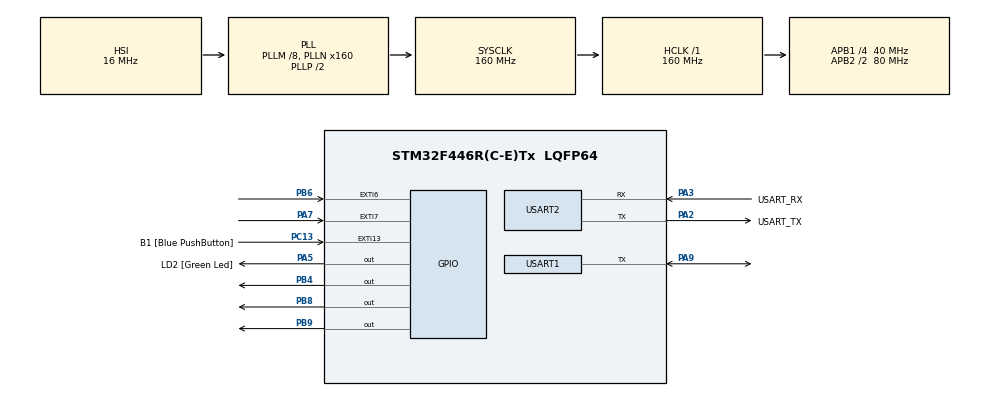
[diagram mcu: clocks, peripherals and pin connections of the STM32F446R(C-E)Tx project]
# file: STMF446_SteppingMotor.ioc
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Mcu.Family=STM32F4
Mcu.Name=STM32F446R(C-E)Tx
Mcu.Package=LQFP64
NVIC.EXTI15_10_IRQn=true\:1\:0\:true\:false\:true\:true\:true\:true
NVIC.EXTI9_5_IRQn=true\:1\:0\:true\:false\:true\:true\:true\:true
NVIC.PriorityGroup=NVIC_PRIORITYGROUP_4
NVIC.TIM3_IRQn=true\:2\:0\:true\:false\:true\:true\:true\:true
NVIC.USART2_IRQn=true\:0\:0\:true\:false\:true\:true\:true\:true
PA13.GPIO_Label=TMS
PA13.Mode=Serial_Wire
PA13.Signal=SYS_JTMS-SWDIO
PA14.GPIO_Label=TCK
PA14.Mode=Serial_Wire
PA14.Signal=SYS_JTCK-SWCLK
PA2.GPIO_Label=USART_TX
PA2.Mode=Asynchronous
PA2.Signal=USART2_TX
PA3.GPIO_Label=USART_RX
PA3.Mode=Asynchronous
PA3.Signal=USART2_RX
PA5.GPIO_Label=LD2 [Green Led]
PA5.Signal=GPIO_Output
PA7.GPIO_ModeDefaultEXTI=GPIO_MODE_IT_RISING_FALLING
PA7.Signal=GPXTI7
PA9.GPIO_Speed=GPIO_SPEED_FREQ_HIGH
PA9.Mode=Half_duplex(single_wire_mode)
PA9.Signal=USART1_TX
PB3.GPIO_Label=SWO
PB3.Signal=SYS_JTDO-SWO
PB4.Signal=GPIO_Output
PB6.GPIO_ModeDefaultEXTI=GPIO_MODE_IT_RISING_FALLING
PB6.Signal=GPXTI6
PB8.GPIO_Speed=GPIO_SPEED_FREQ_VERY_HIGH
PB8.Signal=GPIO_Output
PB9.GPIO_Speed=GPIO_SPEED_FREQ_VERY_HIGH
PB9.Signal=GPIO_Output
PC13.GPIO_Label=B1 [Blue PushButton]
PC13.GPIO_ModeDefaultEXTI=GPIO_MODE_IT_FALLING
PC13.Signal=GPXTI13
PC14-OSC32_IN.Mode=LSE-External-Oscillator
PC14-OSC32_IN.Signal=RCC_OSC32_IN
PC15-OSC32_OUT.Mode=LSE-External-Oscillator
PC15-OSC32_OUT.Signal=RCC_OSC32_OUT
PH0-OSC_IN.Mode=HSE-External-Oscillator
PH0-OSC_IN.Signal=RCC_OSC_IN
PH1-OSC_OUT.Mode=HSE-External-Oscillator
PH1-OSC_OUT.Signal=RCC_OSC_OUT
ProjectManager.HeapSize=0x200
ProjectManager.StackSize=0x400
ProjectManager.TargetToolchain=STM32CubeIDE
RCC.48MHZClocksFreq_Value=84000000
RCC.AHBFreq_Value=160000000
RCC.APB1CLKDivider=RCC_HCLK_DIV4
RCC.APB1Freq_Value=40000000
RCC.APB1TimFreq_Value=80000000
RCC.APB2CLKDivider=RCC_HCLK_DIV2
RCC.APB2Freq_Value=80000000
RCC.APB2TimFreq_Value=160000000
RCC.CortexFreq_Value=160000000
RCC.FLatency-AdvancedSettings=FLASH_LATENCY_5
RCC.HCLKFreq_Value=160000000
RCC.HSE_VALUE=8000000
RCC.HSI_VALUE=16000000
RCC.PLLM=8
RCC.PLLN=160
RCC.SYSCLKFreq_VALUE=160000000
RCC.SYSCLKSource=RCC_SYSCLKSOURCE_PLLCLK
RCC.USBFreq_Value=160000000
RCC.VCOOutputFreq_Value=320000000
TIM3.Channel-Output\ Compare1\ No\ Output=TIM_CHANNEL_1
TIM3.Prescaler=160-1
USART1.BaudRate=500000
USART1.VirtualMode=VM_ASYNC
USART2.VirtualMode=VM_ASYNC
VP_TIM3_VS_ClockSourceINT.Mode=Internal
VP_TIM3_VS_no_output1.Mode=Output Compare1 No Output
board=NUCLEO-F446RE

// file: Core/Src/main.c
/* USER CODE BEGIN Header */
/**
  ******************************************************************************
  * @file           : main.c
  * @brief          : Main program body
  ******************************************************************************
  * @attention
  *
  * Copyright (c) 2022 STMicroelectronics.
  * All rights reserved.
  *
  * This software is licensed under terms that can be found in the LICENSE file
  * in the root directory of this software component.
  * If no LICENSE file comes with this software, it is provided AS-IS.
  *
  ******************************************************************************
  */
/* USER CODE END Header */
#include "main.h"

/* USER CODE BEGIN Includes */
#include<stdio.h>
#include "tmc/ic/TMC2209/TMC2209.h"
#include <math.h>
/* USER CODE END Includes */

/* USER CODE BEGIN PTD */
typedef struct {
	float acceleration;
	volatile unsigned int minStepInterval;
	void (*dirFunc)(int);
	void (*stepFunc)();

	uint8_t homing;
	unsigned int c0;
	volatile int stepPosition;

	volatile int dir; // 1 or -1
	volatile int dir_inv; //set 1 to reverse the dir

	volatile int pull_off; //set pull_off distance
	volatile int stall_off;

	volatile int seeking_vel;
	volatile int homing_vel;

	volatile unsigned int totalSteps;

	volatile char movementDone;
	volatile unsigned int rampUpStepCount;
	volatile unsigned int n; // index
	volatile float d; // current interval length
	volatile unsigned long di; // d -> unsigned  di
	volatile unsigned int stepCount;

}stepperInfo;   //stepperInfo型の構造体にメンバを格納

/* USER CODE END PTD */

/* USER CODE BEGIN PD */
#define TMC2209_CRC(data, length) tmc_CRC8(data, length, 1)

/* USER CODE END PD */

TIM_HandleTypeDef htim3;

UART_HandleTypeDef huart1;
UART_HandleTypeDef huart2;

/* USER CODE BEGIN PV */
//SteppingMotorの設定
TMC2209TypeDef TMC2209; //TMC2209の設定などの定義
ConfigurationTypeDef TMC2209_config; //TMC2209の設定
volatile stepperInfo steppers[1];    //stepperInfo型の配列stepperにNUM_STEPPERSで定義した値を代入
uint8_t end_stop_state = 0;
uint8_t homing_flag = 0;
uint8_t current_stall = 0;
uint8_t get_uart_flag=0;

/* USER CODE END PV */

void SystemClock_Config(void);
static void MX_GPIO_Init(void);
static void MX_USART2_UART_Init(void);
static void MX_TIM3_Init(void);
static void MX_USART1_UART_Init(void);
/* USER CODE BEGIN PFP */
static uint8_t reset(void);
static uint8_t restore(void);
/* USER CODE END PFP */

/* USER CODE BEGIN 0 */
void tmc2209_readWriteArray(uint8_t channel, uint8_t *data, size_t writeLength, size_t readLength)
{
	//set your uart read write
	//UART_readWrite(channelToUART(channel), data, writeLength, readLength);
	HAL_HalfDuplex_EnableTransmitter(&huart1);
	HAL_UART_Transmit(&huart1, data, writeLength,3000);

	if(readLength > 0){
		HAL_HalfDuplex_EnableReceiver(&huart1);
		HAL_UART_Receive(&huart1, data, readLength, 3000);
	}
}

uint8_t tmc2209_CRC8(uint8_t *data, size_t length)
{
	return TMC2209_CRC(data, length);
}

static uint8_t reset()
{
	//StepDir_init(STEPDIR_PRECISION);
	//StepDir_setPins(0, Pins.STEP, Pins.DIR, Pins.DIAG);

	return tmc2209_reset(&TMC2209);
}

static uint8_t restore()
{
	return tmc2209_restore(&TMC2209);
}

void TMC2209_INIT()
{
	tmc_fillCRC8Table(0x07, true, 1);

	TMC2209_config.reset = reset;
	TMC2209_config.restore = restore;
	tmc2209_init(&TMC2209, 0, 0, &TMC2209_config, &tmc2209_defaultRegisterResetState[0]);

	//restore();
}

static inline TMC2209TypeDef *motorToIC(uint8_t motor)
{
	UNUSED(motor);

	return &TMC2209;
}

void HAL_GPIO_EXTI_Callback(uint16_t GPIO_Pin)
{
	//stepper 0 end stop senssor
		if(!HAL_GPIO_ReadPin(GPIOB, GPIO_PIN_6)){
			end_stop_state = 0;
				}else{
					end_stop_state = 1;
				}
//	if(GPIO_Pin == GPIO_PIN_6 ){
//		if(!HAL_GPIO_ReadPin(GPIOB, GPIO_PIN_6)){
//			end_stop_state |= 1;
//		}
//		if(HAL_GPIO_ReadPin(GPIOB, GPIO_PIN_6)){
//			end_stop_state &= ~1;
//		}
//	}
//	if(GPIO_Pin == GPIO_PIN_7 ){
//		if(!HAL_GPIO_ReadPin(GPIOA, GPIO_PIN_7)){
//			current_stall|= 0;
//		}
//		if(HAL_GPIO_ReadPin(GPIOA, GPIO_PIN_7)){
//			current_stall = 1;
//		}
//	}
}
void Step0(){                                       //step pin
	//pull+

	HAL_GPIO_WritePin(GPIOB, GPIO_PIN_9, GPIO_PIN_RESET);
	HAL_GPIO_WritePin(GPIOB, GPIO_PIN_9, GPIO_PIN_SET);
	/*
	 * pull-
	 * HAL_GPIO_WritePin(GPIOB, GPIO_PIN_5, GPIO_PIN_SET);
	 * HAL_GPIO_WritePin(GPIOB, GPIO_PIN_5, GPIO_PIN_RESET);
	 */
}

void Dir0(int dir){
	HAL_GPIO_WritePin(GPIOB, GPIO_PIN_8, dir); //Dir0関数にdirピンを指定して格納
}

void resetStepperInfo(stepperInfo* si){    //resetStepperInfo関数に引数をstepperInfo構造隊にポイント型変数siとして与える
	si->n = 0;  //変数*siがメンバnにアクセス.した値に0を代入する
	si->d = 0;
	si->di = 0;
	si->stepCount = 0;
	si->rampUpStepCount = 0;
	si->totalSteps = 0;
	si->stepPosition = 0;
	si->movementDone = 0;
}

void resetStepper(volatile stepperInfo* si){    //resetStepper関数に引数をstepperInfo構造隊にポイント型変数siとして与える
	si->c0 = si->acceleration;      //変数*siがメンバc0にアクセス.した値に変数*siがメンバaccelerationにアクセス.した値を代入する
	si->d = si->c0;
	si->di = si->d;
	si->stepCount = 0;
	si->n = 0;
	si->rampUpStepCount = 0;
	si->movementDone = 0;
}

volatile uint8_t remainingSteppersFlag = 0; //remainingSteppersFlagをuint8_t型で定義し、初期化

void prepareMovement(int steps){
	if(steps == 0){
		return;
	}
	volatile stepperInfo* si = &steppers[0];
	if(si->dir_inv){
		si->dirFunc( steps < 0 ? 0 : 1);
		si->dir = steps > 0 ? -1:1;
	}else{
		si->dirFunc( steps < 0 ? 1 : 0);
		si->dir = steps > 0 ? 1:-1;
	}
		si->totalSteps = abs(steps);
		resetStepper(si);
		remainingSteppersFlag |= (1 << 0);

}

void prepareAbsoluteMovement(int absolute_steps){   //prepareAbsoluteMovementで与えられたステップ数だけモータを回す(main文から）
	printf("absolute_steps:%d\r\n",absolute_steps);
	volatile stepperInfo* si = &steppers[0];	//steppers[0]のアドレスをstepperInfo* si に代入
	int steps = absolute_steps - si->stepPosition;	//目標値からstepPositionを引いた値（stepposition=毎ステップカウントされるdirの値)
	printf("steps:%d\r\n",steps);
	if(steps == 0){
					return;
				}
	si->dirFunc( steps < 0 ? 1 : 0);
	si->dir = steps > 0 ? 1:-1;
	//printf("prepareAbsoluteMovement\r\n");
	si->totalSteps = abs(steps);	//stepsの値をアブソリュートでtotalstepsに格納
	printf("steps:%d\r\n",si->totalSteps);

	resetStepper(si);
	printf("steps:%d\r\n",steps);
	remainingSteppersFlag |= (1 << 0);
}
volatile uint8_t nextStepperFlag = 0;

void setNextInterruptInterval(){

	unsigned int mind = 999999;

		if( ((1 << 0)& remainingSteppersFlag) && steppers[0].di < mind ){
			mind = steppers[0].di;
		}
		nextStepperFlag = 0;

			if( (1 << 0) && steppers[0].di == mind ){
				nextStepperFlag |= (1 << 0);
			}

		__HAL_TIM_SET_COMPARE(&htim3, TIM_CHANNEL_1, mind);		//mindにコンペアを設定
			//printf("mind:%d \r\n",mind);

	if (remainingSteppersFlag == 0){
		__HAL_TIM_SET_COMPARE(&htim3, TIM_CHANNEL_1, 65500);    //65500→コンペアマッチさせない
	}

	__HAL_TIM_SET_COMPARE(&htim3, TIM_CHANNEL_1, mind);
	return;

}

void HAL_TIM_OC_DelayElapsedCallback(TIM_HandleTypeDef *htim){      //指定したコンペアを超えた時発火
	//HAL_TIM_OC_Stop_IT(&htim3, TIM_CHANNEL_1);
	if(htim == &htim3){
	unsigned int tmpCtr = __HAL_TIM_GET_COMPARE(&htim3, TIM_CHANNEL_1);	//指定されたタイマーチャンネルのコンペアを所得
	__HAL_TIM_SET_COMPARE(&htim3, TIM_CHANNEL_1, 65500);			//コンペアを65500にセット

	if( homing_flag & (1 << 0)){
				if(end_stop_state & (1 << 0)){
					remainingSteppersFlag &= ~(1 << 0);
				}
			}
	if ( ! (nextStepperFlag & (1 << 0)) ){				//nextStepperFlagが真でない(0なら)
			steppers[0].di -= tmpCtr;           //tmpCtrの値からsteppers[i].di引いた値を新しくsteppers[i].diに代入
		}
		//printf("steppers:%ld \r\n",steppers[0].di);

		volatile stepperInfo* s = &steppers[0];

		if( (s->stepCount) < (s->totalSteps)&& !(current_stall)  ){		//1周ごとにカウントしたstepCountがabs(steps)より小さかったら==動作が終了するまで
			s->stepFunc();
			s->stepCount++;							//カウントし続ける
			s->stepPosition += s->dir;		//dir(+もしくはー(dirの向き）を加算してstepPositionに格納
			if ( (s->stepCount) >= (s->totalSteps) ){	//stepCountがtotalStepsを超えたとき
				s->movementDone = 1;	//movementDoneを1にする
				remainingSteppersFlag &= ~(1 << 0);
			}
		}

		if (s->rampUpStepCount == 0){
			s->n++;									//sにnを代入して、nをプラス1する
			s->d = s->d - (2*s->d) / (4*s->n +1);	//加減速遅延時間
			if (s->d <= s->minStepInterval ){		//加減速遅延時間がminStepIntervalより短いなら（定数で指定）
				s->d = s->minStepInterval;			//minStepIntervalを加減速遅延時間にする
				s->rampUpStepCount = s->stepCount;	//rampUpStepCountはstepCountとする
			}
			if (s->stepCount >= (s->totalSteps / 2) ){  //目標値から現在のステップを引いた値の1/2よりstepCountが大きくなったとき
				s->rampUpStepCount = s->stepCount;		//rampUpStepCountはstepCountとする
			}
		} else if ( s->stepCount >= s->totalSteps - s->rampUpStepCount) {	//目標値から現在のステップを引いた値からrampUpStepCountを引いた値がstepCountより小さいなら
			s->d = (s->d * (4 * s->n + 1)) / (4 * s->n + 1 -2);				//減速の時のステップ
			s->n--;		//sにnを代入し、nから1を引く
		}
		s->di = s->d;	//計算結果sをstepperInfoのメンバdに代入したものをメンバdiに代入
		//printf("stepPosition:%ld \r\n",s->stepPosition);
		setNextInterruptInterval();
		__HAL_TIM_SET_COUNTER(&htim3, 0);
	}
}

void sensorStateInit(){							//割り込みリセット
	if( ! HAL_GPIO_ReadPin(GPIOA, GPIO_PIN_6)){	//割り込みピンが真でない(1でない=0なら)
		end_stop_state |= 1;					//end_stop_stateに左辺か右辺が1なら1を代入
	}
}

void stallguard_back(){
	prepareMovement(steppers[0].stall_off);	//stall_off
	current_stall=0;
	return;
}

void runAndWait(){
	setNextInterruptInterval();
//	while(remainingSteppersFlag && !(current_stall));
	while(remainingSteppersFlag);

//	if(current_stall==1){
//		stallguard_back();
//	}
	HAL_Delay(100);

	//printf("posi%d\r\n",re->totalSteps);
}
void AbsoluteReset(){
	volatile stepperInfo* re = &steppers[0];

	re->n = 0;  //変数*siがメンバnにアクセス.した値に0を代入する
	re->d = 0;
	re->di = 0;
	re->stepCount = 0;
	re->rampUpStepCount = 0;
	re->totalSteps = 0;
	re->stepPosition = 0;
	printf("RestOK\r\n");
}

void stepperHoming(){
	homing_flag |= (1 << 0);
	//seeking
	steppers[0].minStepInterval = steppers[0].seeking_vel;	//ホームピンに反応するまでモータ回す
	prepareMovement( -100000000);
	runAndWait();
	HAL_Delay(500);
	//pull-off

	homing_flag &= ~(1 << 0);								//homing_flagが反応したらpull_offだけモータ回す
	prepareMovement(steppers[0].pull_off);
	runAndWait();
	HAL_Delay(500);
	//homing

	homing_flag |= (1 << 0);								//ホームピンに反応するまでモータ回す
	steppers[0].minStepInterval = steppers[0].homing_vel;
	prepareMovement( -100000000);
	runAndWait();
	HAL_Delay(500);
	//pull-off
	homing_flag &= ~(1 << 0);
	prepareMovement(steppers[0].pull_off);
	runAndWait();
	HAL_Delay(500);

	steppers[0].stepPosition = 0;
	steppers[0].homing = 1;
	steppers[0].minStepInterval = 500;
	printf("homing:\r\n");

}
void TMCsetup(){	//TMCレジスタ設定
	int32_t value = 0;
//
//	value=0;
//	value = TMC2209_FIELD_READ(&TMC2209, TMC2209_GCONF, TMC2209_PDN_DISABLE_MASK,TMC2209_PDN_DISABLE_SHIFT);
	value = 1;
	TMC2209_FIELD_UPDATE(&TMC2209, TMC2209_GCONF, TMC2209_PDN_DISABLE_MASK, TMC2209_PDN_DISABLE_SHIFT, value);
	tmc2209_periodicJob(&TMC2209, HAL_GetTick());

	value = 25;
	TMC2209_FIELD_UPDATE(&TMC2209, TMC2209_IHOLD_IRUN, TMC2209_IRUN_MASK, TMC2209_IRUN_SHIFT, value);	//実行電流
	tmc2209_periodicJob(&TMC2209, HAL_GetTick());

	value= 25;																						//モーター待機時の電流の設定
	TMC2209_FIELD_UPDATE(&TMC2209,TMC2209_IHOLD_IRUN, TMC2209_IHOLD_MASK, TMC2209_IHOLD_SHIFT, value);
	tmc2209_periodicJob(&TMC2209, HAL_GetTick());

	value=100;											//SG_RESULTと比較して、
	tmc2209_writeInt(&TMC2209, TMC2209_SGTHRS, value);
	tmc2209_periodicJob(&TMC2209, HAL_GetTick());

	value=400;
	tmc2209_writeInt(&TMC2209, TMC2209_TCOOLTHRS, value);
	tmc2209_periodicJob(&TMC2209, HAL_GetTick());

	value = 0;
	TMC2209_FIELD_UPDATE(&TMC2209, TMC2209_GCONF, TMC2209_EN_SPREADCYCLE_MASK, TMC2209_EN_SPREADCYCLE_SHIFT ,value);
	tmc2209_periodicJob(&TMC2209, HAL_GetTick());

	value=100;
	tmc2209_writeInt(&TMC2209, TMC2209_TPWMTHRS, value);
	tmc2209_periodicJob(&TMC2209, HAL_GetTick());

	value=0;
	TMC2209_FIELD_UPDATE(&TMC2209, TMC2209_GCONF, TMC2209_INTERNAL_RSENSE_MASK, TMC2209_INTERNAL_RSENSE_SHIFT, value);
	tmc2209_periodicJob(&TMC2209, HAL_GetTick());

	value=1;
	TMC2209_FIELD_UPDATE(&TMC2209, TMC2209_PWMCONF, TMC2209_PWM_FREQ_MASK, TMC2209_PWM_FREQ_SHIFT, value);

	value = 1;
	TMC2209_FIELD_UPDATE(&TMC2209, TMC2209_GCONF, TMC2209_MSTEP_REG_SELECT_MASK, TMC2209_MSTEP_REG_SELECT_SHIFT,value);
	tmc2209_periodicJob(&TMC2209, HAL_GetTick());

	value = 1;
	TMC2209_FIELD_UPDATE(&TMC2209, TMC2209_CHOPCONF, TMC2209_TOFF_MASK, TMC2209_TOFF_SHIFT,value);
	tmc2209_periodicJob(&TMC2209, HAL_GetTick());

	value = 4;
	TMC2209_FIELD_UPDATE(&TMC2209, TMC2209_CHOPCONF, TMC2209_MRES_MASK, TMC2209_MRES_SHIFT,value);
	tmc2209_periodicJob(&TMC2209, HAL_GetTick());

	value=4;
	TMC2209_FIELD_UPDATE(&TMC2209, TMC2209_IHOLD_IRUN, TMC2209_IHOLDDELAY_MASK, TMC2209_IHOLDDELAY_SHIFT, value);
	tmc2209_periodicJob(&TMC2209, HAL_GetTick());

	value = 100;
	TMC2209_FIELD_UPDATE(&TMC2209, TMC2209_PWMCONF, TMC2209_PWM_GRAD_MASK, TMC2209_PWM_GRAD_SHIFT, value);
	tmc2209_periodicJob(&TMC2209, HAL_GetTick());

	value=5;
	TMC2209_FIELD_UPDATE(&TMC2209, TMC2209_COOLCONF, TMC2209_SEMIN_MASK, TMC2209_SEMIN_SHIFT, value);
	tmc2209_periodicJob(&TMC2209, HAL_GetTick());

	value = 2;
	TMC2209_FIELD_UPDATE(&TMC2209, TMC2209_COOLCONF, TMC2209_SEMAX_MASK, TMC2209_SEMAX_SHIFT, value);
	tmc2209_periodicJob(&TMC2209, HAL_GetTick());

	value = 1;
	TMC2209_FIELD_UPDATE(&TMC2209, TMC2209_CHOPCONF, TMC2209_TBL_MASK, TMC2209_TBL_SHIFT, value);
	tmc2209_periodicJob(&TMC2209, HAL_GetTick());

	  printf("TMC SetUpOK\r\n");

}

char KeyCommand[1] = {0};
//KeyCommand[0]=0;

/* USER CODE END 0 */

int main(void)
{
  /* USER CODE BEGIN 1 */
	setbuf(stdout, NULL);
  /* USER CODE END 1 */

  /* MCU Configuration--------------------------------------------------------*/

  /* Reset of all peripherals, Initializes the Flash interface and the Systick. */
  HAL_Init();

  /* Configure the system clock */
  SystemClock_Config();

  /* Initialize all configured peripherals */
  MX_GPIO_Init();
  MX_USART2_UART_Init();
  MX_TIM3_Init();
  MX_USART1_UART_Init();
  /* USER CODE BEGIN 2 */
  TMC2209_INIT();
  //rxbufを受信したらフラグを
  HAL_TIM_OC_Start_IT(&htim3, TIM_CHANNEL_1);
  printf("Hello\r\n");
  steppers[0].dirFunc = Dir0;
  steppers[0].stepFunc = Step0;
  steppers[0].acceleration = 1000;
  steppers[0].minStepInterval = 100;
  steppers[0].homing = 0;
  steppers[0].dir_inv = 0;
  steppers[0].seeking_vel = 200;
  steppers[0].homing_vel = 200;
  steppers[0].pull_off = 500;
  steppers[0].stall_off=10000;
  get_uart_flag=0;

printf("RMD Start\r\n");
HAL_UART_Receive_IT(&huart2,(uint8_t *)KeyCommand,1);

  /* USER CODE END 2 */

  /* Infinite loop */
  /* USER CODE BEGIN WHILE */
  while (1)
  {
//	  HAL_UART_Transmit_IT(&huart2,(uint8_t *)KeyCommand,1);
	  get_uart_flag=0;
	  while(!get_uart_flag){}
	  printf("rxbuf 2 %d\r\n",KeyCommand[0]);
	  if(KeyCommand[0]!=0)
	  {
		  switch(KeyCommand[0])
		  {
			  case '0':
				  TMCsetup();
				  KeyCommand[0]=0;
				  break;
			  case '1':
				  //HAL_UART_Transmit_IT(&huart2,(uint8_t *)front, sizeof(front));
				  printf("1:start\r\n");
				  prepareAbsoluteMovement(2000);
				  runAndWait();
				  HAL_Delay(100);
				  printf("1:end\r\n");
				  KeyCommand[0]=0;
				  break;

			  case '2':
				  printf("1:start\r\n");
				  prepareAbsoluteMovement(-2000);
				  runAndWait();
				  HAL_Delay(100);
				  printf("1:end\r\n");
				  KeyCommand[0]=0;
				  break;

			  case '3':
				  stepperHoming();
				  runAndWait();
				  HAL_Delay(100);
				  KeyCommand[0]=0;
				  break;

			  case '4':
				  AbsoluteReset();
				  KeyCommand[0]=0;
				  break;
			  default:
				  printf("NoCommand");
				  KeyCommand[0]=0;
				  break;
		  }
	  }

    /* USER CODE END WHILE */

  }
}

void SystemClock_Config(void)
{
  RCC_OscInitTypeDef RCC_OscInitStruct = {0};
  RCC_ClkInitTypeDef RCC_ClkInitStruct = {0};

  /** Configure the main internal regulator output voltage
  */
  __HAL_RCC_PWR_CLK_ENABLE();
  __HAL_PWR_VOLTAGESCALING_CONFIG(PWR_REGULATOR_VOLTAGE_SCALE1);

  /** Initializes the RCC Oscillators according to the specified parameters
  * in the RCC_OscInitTypeDef structure.
  */
  RCC_OscInitStruct.OscillatorType = RCC_OSCILLATORTYPE_HSI;
  RCC_OscInitStruct.HSIState = RCC_HSI_ON;
  RCC_OscInitStruct.HSICalibrationValue = RCC_HSICALIBRATION_DEFAULT;
  RCC_OscInitStruct.PLL.PLLState = RCC_PLL_ON;
  RCC_OscInitStruct.PLL.PLLSource = RCC_PLLSOURCE_HSI;
  RCC_OscInitStruct.PLL.PLLM = 8;
  RCC_OscInitStruct.PLL.PLLN = 160;
  RCC_OscInitStruct.PLL.PLLP = RCC_PLLP_DIV2;
  RCC_OscInitStruct.PLL.PLLQ = 2;
  RCC_OscInitStruct.PLL.PLLR = 2;
  if (HAL_RCC_OscConfig(&RCC_OscInitStruct) != HAL_OK)
  {
    Error_Handler();
  }

  /** Initializes the CPU, AHB and APB buses clocks
  */
  RCC_ClkInitStruct.ClockType = RCC_CLOCKTYPE_HCLK|RCC_CLOCKTYPE_SYSCLK
                              |RCC_CLOCKTYPE_PCLK1|RCC_CLOCKTYPE_PCLK2;
  RCC_ClkInitStruct.SYSCLKSource = RCC_SYSCLKSOURCE_PLLCLK;
  RCC_ClkInitStruct.AHBCLKDivider = RCC_SYSCLK_DIV1;
  RCC_ClkInitStruct.APB1CLKDivider = RCC_HCLK_DIV4;
  RCC_ClkInitStruct.APB2CLKDivider = RCC_HCLK_DIV2;

  if (HAL_RCC_ClockConfig(&RCC_ClkInitStruct, FLASH_LATENCY_5) != HAL_OK)
  {
    Error_Handler();
  }
}

static void MX_TIM3_Init(void)
{

  TIM_ClockConfigTypeDef sClockSourceConfig = {0};
  TIM_MasterConfigTypeDef sMasterConfig = {0};
  TIM_OC_InitTypeDef sConfigOC = {0};

  htim3.Instance = TIM3;
  htim3.Init.Prescaler = 160-1;
  htim3.Init.CounterMode = TIM_COUNTERMODE_UP;
  htim3.Init.Period = 65535;
  htim3.Init.ClockDivision = TIM_CLOCKDIVISION_DIV1;
  htim3.Init.AutoReloadPreload = TIM_AUTORELOAD_PRELOAD_DISABLE;
  if (HAL_TIM_Base_Init(&htim3) != HAL_OK)
  {
    Error_Handler();
  }
  sClockSourceConfig.ClockSource = TIM_CLOCKSOURCE_INTERNAL;
  if (HAL_TIM_ConfigClockSource(&htim3, &sClockSourceConfig) != HAL_OK)
  {
    Error_Handler();
  }
  if (HAL_TIM_OC_Init(&htim3) != HAL_OK)
  {
    Error_Handler();
  }
  sMasterConfig.MasterOutputTrigger = TIM_TRGO_RESET;
  sMasterConfig.MasterSlaveMode = TIM_MASTERSLAVEMODE_DISABLE;
  if (HAL_TIMEx_MasterConfigSynchronization(&htim3, &sMasterConfig) != HAL_OK)
  {
    Error_Handler();
  }
  sConfigOC.OCMode = TIM_OCMODE_TIMING;
  sConfigOC.Pulse = 0;
  sConfigOC.OCPolarity = TIM_OCPOLARITY_HIGH;
  sConfigOC.OCFastMode = TIM_OCFAST_DISABLE;
  if (HAL_TIM_OC_ConfigChannel(&htim3, &sConfigOC, TIM_CHANNEL_1) != HAL_OK)
  {
    Error_Handler();
  }

}

static void MX_USART1_UART_Init(void)
{

  huart1.Instance = USART1;
  huart1.Init.BaudRate = 500000;
  huart1.Init.WordLength = UART_WORDLENGTH_8B;
  huart1.Init.StopBits = UART_STOPBITS_1;
  huart1.Init.Parity = UART_PARITY_NONE;
  huart1.Init.Mode = UART_MODE_TX_RX;
  huart1.Init.HwFlowCtl = UART_HWCONTROL_NONE;
  huart1.Init.OverSampling = UART_OVERSAMPLING_16;
  if (HAL_HalfDuplex_Init(&huart1) != HAL_OK)
  {
    Error_Handler();
  }

}

static void MX_USART2_UART_Init(void)
{

  huart2.Instance = USART2;
  huart2.Init.BaudRate = 115200;
  huart2.Init.WordLength = UART_WORDLENGTH_8B;
  huart2.Init.StopBits = UART_STOPBITS_1;
  huart2.Init.Parity = UART_PARITY_NONE;
  huart2.Init.Mode = UART_MODE_TX_RX;
  huart2.Init.HwFlowCtl = UART_HWCONTROL_NONE;
  huart2.Init.OverSampling = UART_OVERSAMPLING_16;
  if (HAL_UART_Init(&huart2) != HAL_OK)
  {
    Error_Handler();
  }

}

static void MX_GPIO_Init(void)
{
  GPIO_InitTypeDef GPIO_InitStruct = {0};

  /* GPIO Ports Clock Enable */
  __HAL_RCC_GPIOC_CLK_ENABLE();
  __HAL_RCC_GPIOH_CLK_ENABLE();
  __HAL_RCC_GPIOA_CLK_ENABLE();
  __HAL_RCC_GPIOB_CLK_ENABLE();

  /*Configure GPIO pin Output Level */
  HAL_GPIO_WritePin(LD2_GPIO_Port, LD2_Pin, GPIO_PIN_RESET);

  /*Configure GPIO pin Output Level */
  HAL_GPIO_WritePin(GPIOB, GPIO_PIN_4|GPIO_PIN_8|GPIO_PIN_9, GPIO_PIN_RESET);

  /*Configure GPIO pin : B1_Pin */
  GPIO_InitStruct.Pin = B1_Pin;
  GPIO_InitStruct.Mode = GPIO_MODE_IT_FALLING;
  GPIO_InitStruct.Pull = GPIO_NOPULL;
  HAL_GPIO_Init(B1_GPIO_Port, &GPIO_InitStruct);

  /*Configure GPIO pin : LD2_Pin */
  GPIO_InitStruct.Pin = LD2_Pin;
  GPIO_InitStruct.Mode = GPIO_MODE_OUTPUT_PP;
  GPIO_InitStruct.Pull = GPIO_NOPULL;
  GPIO_InitStruct.Speed = GPIO_SPEED_FREQ_LOW;
  HAL_GPIO_Init(LD2_GPIO_Port, &GPIO_InitStruct);

  /*Configure GPIO pin : PA7 */
  GPIO_InitStruct.Pin = GPIO_PIN_7;
  GPIO_InitStruct.Mode = GPIO_MODE_IT_RISING_FALLING;
  GPIO_InitStruct.Pull = GPIO_NOPULL;
  HAL_GPIO_Init(GPIOA, &GPIO_InitStruct);

  /*Configure GPIO pin : PB4 */
  GPIO_InitStruct.Pin = GPIO_PIN_4;
  GPIO_InitStruct.Mode = GPIO_MODE_OUTPUT_PP;
  GPIO_InitStruct.Pull = GPIO_NOPULL;
  GPIO_InitStruct.Speed = GPIO_SPEED_FREQ_LOW;
  HAL_GPIO_Init(GPIOB, &GPIO_InitStruct);

  /*Configure GPIO pin : PB6 */
  GPIO_InitStruct.Pin = GPIO_PIN_6;
  GPIO_InitStruct.Mode = GPIO_MODE_IT_RISING_FALLING;
  GPIO_InitStruct.Pull = GPIO_NOPULL;
  HAL_GPIO_Init(GPIOB, &GPIO_InitStruct);

  /*Configure GPIO pins : PB8 PB9 */
  GPIO_InitStruct.Pin = GPIO_PIN_8|GPIO_PIN_9;
  GPIO_InitStruct.Mode = GPIO_MODE_OUTPUT_PP;
  GPIO_InitStruct.Pull = GPIO_NOPULL;
  GPIO_InitStruct.Speed = GPIO_SPEED_FREQ_VERY_HIGH;
  HAL_GPIO_Init(GPIOB, &GPIO_InitStruct);

  /* EXTI interrupt init*/
  HAL_NVIC_SetPriority(EXTI9_5_IRQn, 1, 0);
  HAL_NVIC_EnableIRQ(EXTI9_5_IRQn);

  HAL_NVIC_SetPriority(EXTI15_10_IRQn, 1, 0);
  HAL_NVIC_EnableIRQ(EXTI15_10_IRQn);

}

/* USER CODE BEGIN 4 */
int _write(int file, char *ptr, int len)	//printfに必要
{
  HAL_UART_Transmit(&huart2,(uint8_t *)ptr,len,10);
  return len;
}
void HAL_UART_RxCpltCallback(UART_HandleTypeDef *UartHandle)
{
	HAL_UART_Receive_IT(&huart2,(uint8_t *)KeyCommand,1);
	get_uart_flag = 1;
	printf("uart_timer\r\n");

}

/* USER CODE END 4 */

void Error_Handler(void)
{
  __disable_irq();
  while (1)
  {
  }
}
